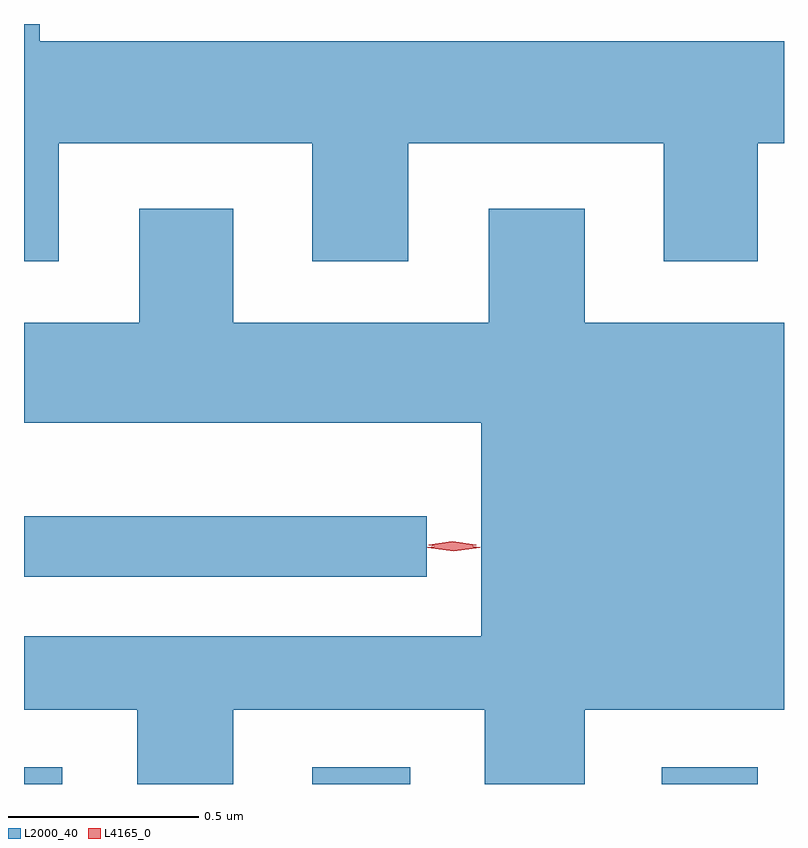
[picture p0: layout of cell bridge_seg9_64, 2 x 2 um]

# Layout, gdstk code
import gdstk
lib = gdstk.Library(unit=1e-6, precision=1e-09)
def R(c, l, rs):  # rectangles x0, y0, x1, y1
    for r in rs: c.add(gdstk.rectangle(r[:2], r[2:], *l))
def P(c, l, *ps):  # polygons
    for p in ps: c.add(gdstk.Polygon(p, *l))
L2000_40 = (2000, 40)
L4165_0 = (4165, 0)

bridge_seg9_64 = lib.new_cell('bridge_seg9_64')
R(bridge_seg9_64, L2000_40, [(1641.408,1947.95,1641.509,1947.994), (1642.166,1947.95,1642.424,1947.994), (1643.086,1947.95,1643.339,1947.994), (1641.408,1948.496,1642.468,1948.654)])
P(bridge_seg9_64, L2000_40, [(1641.499,1949.636),(1642.166,1949.636),(1642.166,1949.326),(1642.419,1949.326),(1642.419,1949.636),(1643.091,1949.636),(1643.091,1949.326),(1643.339,1949.326),(1643.339,1949.636),(1643.408,1949.636),(1643.408,1949.904),(1641.449,1949.904),(1641.449,1949.95),(1641.408,1949.95),(1641.408,1949.326),(1641.499,1949.326)],
  [(1641.959,1948.146),(1642.621,1948.146),(1642.621,1947.95),(1642.884,1947.95),(1642.884,1948.146),(1643.408,1948.146),(1643.408,1949.164),(1642.884,1949.164),(1642.884,1949.464),(1642.631,1949.464),(1642.631,1949.164),(1641.959,1949.164),(1641.959,1949.464),(1641.711,1949.464),(1641.711,1949.164),(1641.408,1949.164),(1641.408,1948.901),(1642.611,1948.901),(1642.611,1948.339),(1641.408,1948.339),(1641.408,1948.146),(1641.706,1948.146),(1641.706,1947.95),(1641.959,1947.95)])
P(bridge_seg9_64, L4165_0, [(1642.539,1948.563),(1642.47,1948.572),(1642.469,1948.573),(1642.47,1948.573),(1642.539,1948.583),(1642.607,1948.573),(1642.608,1948.573),(1642.607,1948.572)],
  [(1642.535,1948.569),(1642.473,1948.578),(1642.473,1948.578),(1642.473,1948.579),(1642.535,1948.589),(1642.598,1948.579),(1642.598,1948.579),(1642.598,1948.578)])

lib.write_gds('bridge_seg9_64.gds')
